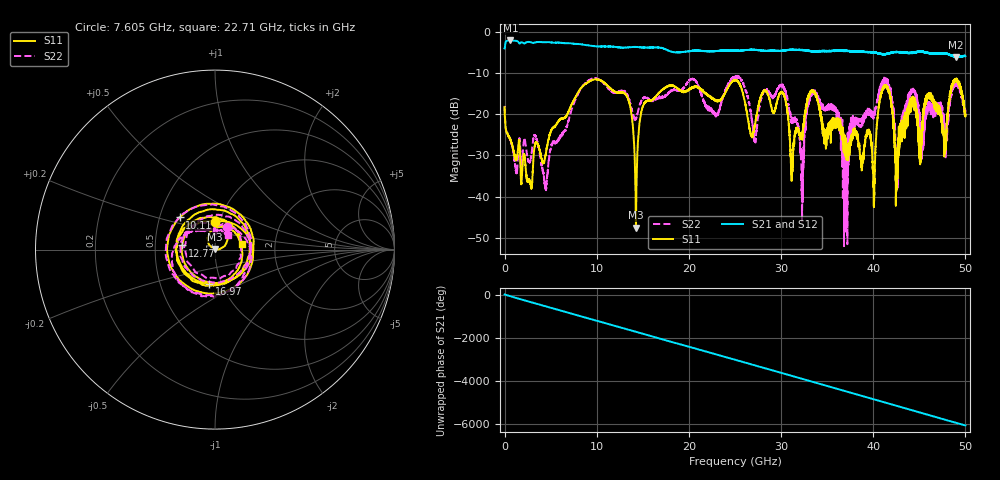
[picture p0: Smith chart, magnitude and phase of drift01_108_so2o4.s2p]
!Created with skrf (http://scikit-rf.org).
# Hz S RI R 50.0
!freq ReS11 ImS11 ReS21 ImS21 ReS12 ImS12 ReS22 ImS22
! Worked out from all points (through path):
!   10001 points, 300 kHz to 50 GHz, reference 50 ohm
!   highest |S21| = -2.00 dB at 625.3 MHz (marker M1); lowest = -6.1 dB at 48.98 GHz (marker M2)
!   group delay of S21, straight-line fit = 336 ps
!   lowest |S11| = -47.6 dB at 14.25 GHz (marker M3), VSWR 1.01, Z = 50.1 + j0.409 ohm
!   |S11| at or under -10 dB: start of sweep to end of sweep
!   |S22| runs from -52.1 to -10.6 dB; largest |S21 - S12| = 0.022
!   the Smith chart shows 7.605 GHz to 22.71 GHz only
!   S11 on the Smith chart (normalised r, x): 7.605 GHz: 0.96, +0.31; 10.11 GHz: 0.63, +0.24; 12.77 GHz: 0.69, +0.03; 16.97 GHz: 0.88, -0.35; 22.71 GHz: 1.35, +0.08
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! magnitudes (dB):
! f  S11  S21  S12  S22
! 300 kHz  -18.3  -4.0  -4.1  -17.9
! 625.3 MHz  -26.1  -2.0  -2.0  -26.2
! 4.445 GHz  -29.9  -2.4  -2.4  -37.7
! 7.605 GHz  -16.1  -2.8  -2.8  -16.9
! 8.335 GHz  -13.5  -3.0  -3.0  -13.5
! 10.11 GHz  -11.5  -3.4  -3.4  -11.3
! 12.77 GHz  -14.7  -3.7  -3.7  -14.3
! 14.25 GHz  -47.6  -3.6  -3.6  -21.1
! 16.67 GHz  -14.9  -3.7  -3.7  -15.8
! 16.97 GHz  -14.3  -3.8  -3.8  -15.6
! 22.71 GHz  -16.4  -4.6  -4.6  -19.4
! 25 GHz  -11.6  -4.5  -4.5  -11.0
! 27.15 GHz  -22.6  -4.3  -4.3  -25.9
! 30.2 GHz  -14.9  -4.5  -4.5  -13.4
! 32.26 GHz  -25.5  -4.3  -4.3  -37.8
! 33.34 GHz  -14.2  -4.6  -4.6  -14.8
! 37.02 GHz  -26.8  -4.5  -4.5  -39.3
! 40.06 GHz  -40.7  -4.9  -4.9  -20.2
! 41.67 GHz  -14.0  -5.1  -5.1  -13.1
! 42.57 GHz  -38.1  -4.8  -4.8  -29.8
! 48.98 GHz  -11.4  -6.1  -6.0  -12.7
! 50 GHz  -20.2  -5.8  -5.8  -19.9
